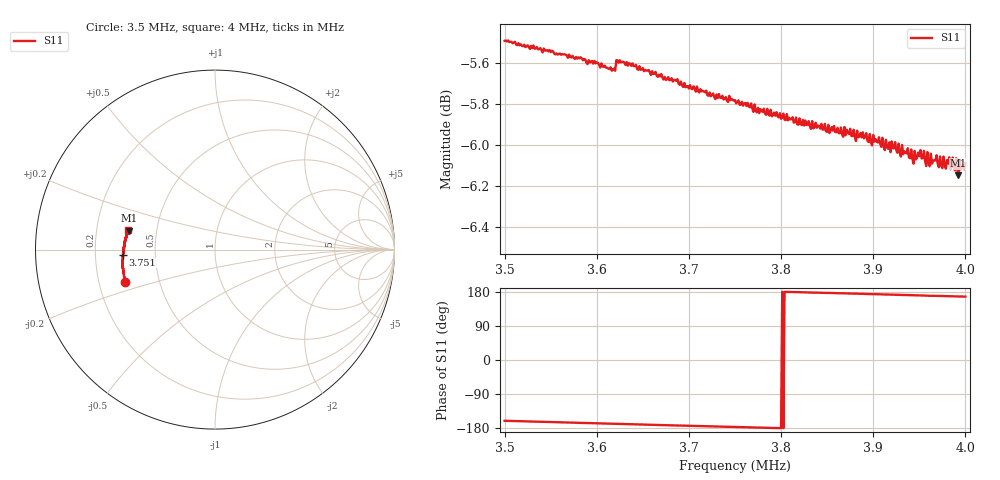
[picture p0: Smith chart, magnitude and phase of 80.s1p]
# Hz S RI R 50
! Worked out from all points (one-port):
!   401 points, 3.5 MHz to 4 MHz, reference 50 ohm
!   lowest |S11| = -6.1 dB at 3.993 MHz (marker M1), VSWR 2.94, Z = 17.2 + j4.82 ohm
!   |S11| at or under -10 dB: nowhere
!   S11 on the Smith chart (normalised r, x): 3.5 MHz: 0.31, -0.16; 3.751 MHz: 0.32, -0.02; 4 MHz: 0.34, +0.10
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3500000  -0.5006 -0.1778
3505000  -0.5011 -0.1752
3562500  -0.5081 -0.141
3585000  -0.5099 -0.1271
3617500  -0.5117 -0.1071
3625000  -0.515 -0.1046
3687500  -0.5157 -0.0662
3708750  -0.515 -0.0538
3750000  -0.513 -0.0299
3751250  -0.5122 -0.028
3782500  -0.5099 -0.011
3788750  -0.5111 -0.00821
3812500  -0.509 0.00468
3875000  -0.5042 0.0394
3890000  -0.5007 0.0487
3896250  -0.5016 0.0514
3902500  -0.4997 0.0556
3913750  -0.4988 0.0614
3916250  -0.4959 0.0641
3922500  -0.4957 0.0668
3927500  -0.4967 0.0693
3937500  -0.4945 0.0755
3945000  -0.493 0.0802
3952500  -0.4902 0.0842
3958750  -0.4914 0.0876
3962500  -0.4905 0.09
3992500  -0.4811 0.1063
4000000  -0.4838 0.1097
